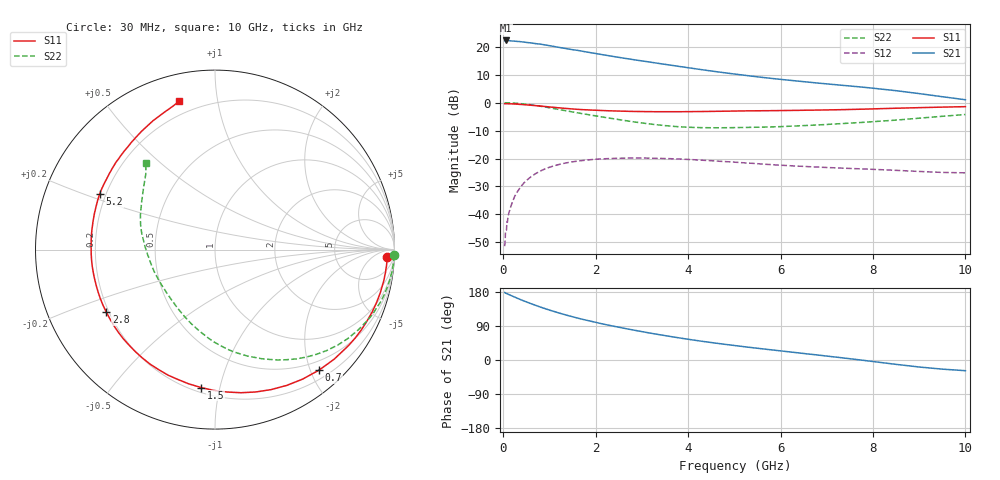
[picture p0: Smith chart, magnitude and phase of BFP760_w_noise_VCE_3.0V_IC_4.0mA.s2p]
! Infineon Technologies  Discrete & RF Semiconductors
! BFP760
! VCE =  3.0 V,  IC =  4.0 mA
! Common Emitter S-Parameters:  Nov 2012
# GHz  S  MA  R  50
!  f  S11  S21  S12  S22
! GHz  MAG  ANG  MAG  ANG  MAG  ANG  MAG  ANG
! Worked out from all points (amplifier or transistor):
!   99 points, 30 MHz to 10 GHz, reference 50 ohm
!   highest |S21| = 22.3 dB at 50 MHz (marker M1)
!   |S21| within 3 dB of that: start of sweep to 1.389 GHz
!   unconditionally stable (mu >= 1): 6.464 GHz to end of sweep
!   at 350 MHz: K = 0.07, MSG = 26.4 dB, |S12| = -30.8 dB
!   at 3.5 GHz: K = 0.43, MSG = 16.9 dB, |S12| = -20.0 dB
!   at 10 GHz: K = 1.38, MAG = 9.4 dB, |S12| = -25.1 dB
!   lowest NFmin = 0.43 dB at 900 MHz
!   S11 on the Smith chart (normalised r, x): 30 MHz: 25, -25; 700 MHz: 0.34, -2.14; 1.5 GHz: 0.23, -0.88; 2.8 GHz: 0.19, -0.26; 5.2 GHz: 0.18, +0.22; 10 GHz: 0.13, +0.78
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0.03  0.9612 -2.3  12.86 178.1  0.0027 94.6  0.9996 -1.8
0.05  0.9611 -3.7  13.03 176.6  0.005 79.6  0.9986 -2.6
0.13  0.9568 -9.6  12.89 172.3  0.0112 81.7  0.9944 -6.7
0.25  0.9471 -18.2  12.66 165.9  0.0212 78.4  0.9813 -12.7
0.4  0.9298 -28.9  12.31 158.2  0.0328 71.6  0.9571 -19.9
0.6  0.902 -42.6  11.75 148.7  0.0473 63.5  0.9153 -29.2
0.7  0.8873 -49.1  11.43 144.3  0.0537 59.4  0.8919 -33.6
0.8  0.8713 -55.9  11.21 139.9  0.0596 55.7  0.8664 -37.9
1  0.8405 -68.1  10.5 131.8  0.0699 48.4  0.8118 -46.0
1.2  0.8107 -79.6  9.815 124.3  0.0781 42.0  0.7579 -53.5
1.5  0.7725 -95.7  8.902 114.1  0.0875 33.6  0.6831 -63.6
1.7  0.7524 -106.0  8.391 107.8  0.0919 28.8  0.6394 -69.9
2.2  0.7214 -127.9  7.122 93.9  0.0992 18.0  0.546 -85.0
2.5  0.7087 -139.4  6.491 86.5  0.1013 12.4  0.4993 -93.4
2.8  0.6988 -150.1  5.938 79.4  0.1021 7.6  0.4576 -101.7
3.4  0.6901 -169.1  5.002 66.4  0.1007 -1.1  0.3967 -118.7
4.1  0.6935 173.0  4.122 52.9  0.0955 -8.9  0.3615 -138.0
5.1  0.7112 155.6  3.191 36.8  0.0852 -16.1  0.3594 -159.0
5.2  0.7131 154.3  3.116 35.3  0.084 -16.6  0.3603 -160.8
6.7  0.7367 137.8  2.295 14.6  0.071 -19.4  0.3961 175.0
8.5  0.7967 115.7  1.642 -11.5  0.0615 -18.8  0.4883 146.8
10  0.8502 103.7  1.13 -28.2  0.0555 -12.5  0.6155 128.7
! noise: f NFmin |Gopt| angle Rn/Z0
0.9  0.43  0.46  26  0.14
1.8  0.52  0.39  54  0.12
2.4  0.63  0.33  75  0.11
3.5  0.81  0.27  109  0.1
5.5  1.15  0.36  -157  0.08
8  1.69  0.49  -104  0.29
